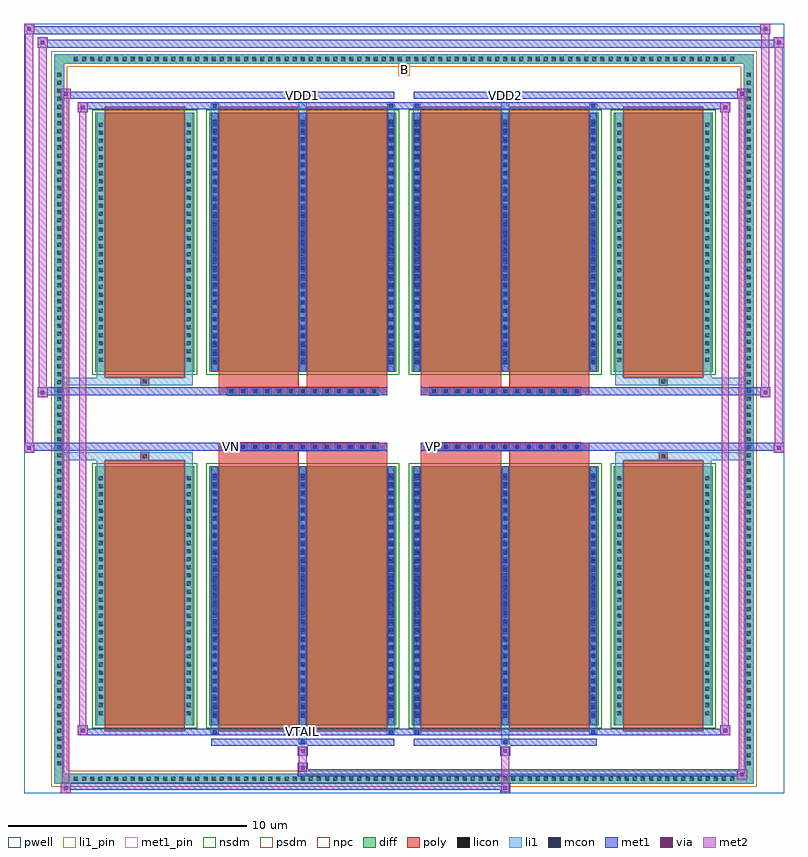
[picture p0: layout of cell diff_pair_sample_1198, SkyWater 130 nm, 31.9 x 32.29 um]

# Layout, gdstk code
import gdstk
lib = gdstk.Library(unit=1e-6, precision=5e-09)
def R(c, l, rs):  # rectangles x0, y0, x1, y1
    for r in rs: c.add(gdstk.rectangle(r[:2], r[2:], *l))
def A(c, l, x, y, w, h, nx, ny, dx, dy):  # array of equal rectangles
    R(c, l, [(x+i*dx, y+j*dy, x+i*dx+w, y+j*dy+h) for i in range(nx) for j in range(ny)])
def P(c, l, *ps):  # polygons
    for p in ps: c.add(gdstk.Polygon(p, *l))
pwell = (64, 44)
diff = (65, 20)
poly = (66, 20)
licon = (66, 44)
li1_pin = (67, 16)
li1 = (67, 20)
mcon = (67, 44)
met1_pin = (68, 16)
met1 = (68, 20)
via = (68, 44)
met2 = (69, 20)
nsdm = (93, 44)
psdm = (94, 20)
npc = (95, 20)

diff_pair_sample_1198 = lib.new_cell('diff_pair_sample_1198')
R(diff_pair_sample_1198, pwell, [(-15.95,-15.71,15.95,16.58), (-13.27,-13.9,-0.01,-0.8), (0.01,-13.9,13.27,-0.8), (-13.27,0.8,-0.01,13.9), (0.01,0.8,13.27,13.9)])
A(diff_pair_sample_1198, diff, -13.975, -15.31, 0.41, 0.41, 82, 2, 0.34, 30.21)
A(diff_pair_sample_1198, diff, -14.68, -14.655, 0.41, 0.41, 1, 86, 0, 0.34)
A(diff_pair_sample_1198, diff, 14.27, -14.655, 0.41, 0.41, 1, 86, 0, 0.34)
R(diff_pair_sample_1198, diff, [(-13.975,-15.31,13.975,-14.9), (-14.68,-14.655,-14.27,14.655), (14.27,-14.655,14.68,14.655), (-12.96,-12.855,-8.81,-1.985), (-8.17,-12.855,-0.32,-1.985), (0.32,-12.855,8.17,-1.985), (8.81,-12.855,12.96,-1.985), (-12.96,1.985,-8.81,12.855), (-8.17,1.985,-0.32,12.855), (0.32,1.985,8.17,12.855), (8.81,1.985,12.96,12.855), (-13.975,14.9,13.975,15.31)])
P(diff_pair_sample_1198, diff, [(14.68,15.31),(-14.68,15.31),(-14.68,-14.9),(-14.27,-14.9),(-14.27,14.9),(14.27,14.9),(14.27,-14.9),(-14.27,-14.9),(-14.68,-14.9),(-14.68,-15.31),(14.68,-15.31)])
A(diff_pair_sample_1198, poly, -7.41, -1.33, 0.33, 0.33, 13, 2, 0.5, 2.33)
A(diff_pair_sample_1198, poly, 1.08, -1.33, 0.33, 0.33, 13, 2, 0.5, 2.33)
R(diff_pair_sample_1198, poly, [(-12.57,-13.105,-9.2,-1.735), (-7.78,-13.105,-4.41,-1.735), (-4.08,-13.105,-0.71,-1.735), (0.71,-13.105,4.08,-1.735), (4.41,-13.105,7.78,-1.735), (9.2,-13.105,12.57,-1.735), (-11.05,-1.735,-10.72,-1.405), (-11.05,-1.735,-10.72,-1.405), (-7.78,-1.735,-4.41,-1.33), (-4.08,-1.735,-0.71,-1.33), (0.71,-1.735,4.08,-1.33), (4.41,-1.735,7.78,-1.33), (10.72,-1.735,11.05,-1.405), (10.72,-1.735,11.05,-1.405), (-7.78,-1.33,-0.71,-1), (0.71,-1.33,7.78,-1), (-7.78,1,-0.71,1.33), (0.71,1,7.78,1.33), (-7.78,1.33,-4.41,1.735), (-4.08,1.33,-0.71,1.735), (0.71,1.33,4.08,1.735), (4.41,1.33,7.78,1.735), (-11.05,1.405,-10.72,1.735), (-11.05,1.405,-10.72,1.735), (10.72,1.405,11.05,1.735), (10.72,1.405,11.05,1.735), (-12.57,1.735,-9.2,13.105), (-7.78,1.735,-4.41,13.105), (-4.08,1.735,-0.71,13.105), (0.71,1.735,4.08,13.105), (4.41,1.735,7.78,13.105), (9.2,1.735,12.57,13.105)])
A(diff_pair_sample_1198, licon, -13.855, -15.19, 0.17, 0.17, 82, 2, 0.34, 30.21)
A(diff_pair_sample_1198, licon, -14.56, -14.535, 0.17, 0.17, 1, 86, 0, 0.34)
A(diff_pair_sample_1198, licon, 14.39, -14.535, 0.17, 0.17, 1, 86, 0, 0.34)
A(diff_pair_sample_1198, licon, -12.82, -12.435, 0.17, 0.17, 1, 30, 0, 0.34)
A(diff_pair_sample_1198, licon, -9.12, -12.435, 0.17, 0.17, 1, 30, 0, 0.34)
A(diff_pair_sample_1198, licon, -8.03, -12.435, 0.17, 0.17, 3, 30, 3.7, 0.34)
A(diff_pair_sample_1198, licon, 0.46, -12.435, 0.17, 0.17, 3, 30, 3.7, 0.34)
A(diff_pair_sample_1198, licon, 8.95, -12.435, 0.17, 0.17, 1, 30, 0, 0.34)
A(diff_pair_sample_1198, licon, 12.65, -12.435, 0.17, 0.17, 1, 30, 0, 0.34)
A(diff_pair_sample_1198, licon, -7.33, -1.25, 0.17, 0.17, 13, 2, 0.5, 2.33)
A(diff_pair_sample_1198, licon, 1.16, -1.25, 0.17, 0.17, 13, 2, 0.5, 2.33)
A(diff_pair_sample_1198, licon, -12.82, 2.405, 0.17, 0.17, 1, 30, 0, 0.34)
A(diff_pair_sample_1198, licon, -9.12, 2.405, 0.17, 0.17, 1, 30, 0, 0.34)
A(diff_pair_sample_1198, licon, -8.03, 2.405, 0.17, 0.17, 3, 30, 3.7, 0.34)
A(diff_pair_sample_1198, licon, 0.46, 2.405, 0.17, 0.17, 3, 30, 3.7, 0.34)
A(diff_pair_sample_1198, licon, 8.95, 2.405, 0.17, 0.17, 1, 30, 0, 0.34)
A(diff_pair_sample_1198, licon, 12.65, 2.405, 0.17, 0.17, 1, 30, 0, 0.34)
R(diff_pair_sample_1198, licon, [(-10.97,-1.655,-10.8,-1.485), (10.8,-1.655,10.97,-1.485), (-10.97,1.485,-10.8,1.655), (10.8,1.485,10.97,1.655)])
R(diff_pair_sample_1198, li1_pin, [(-0.25,14.4,0.25,14.9)])
A(diff_pair_sample_1198, li1, -13.935, -15.27, 0.33, 0.33, 82, 2, 0.34, 30.21)
A(diff_pair_sample_1198, li1, -14.64, -14.615, 0.33, 0.33, 1, 86, 0, 0.34)
A(diff_pair_sample_1198, li1, 14.31, -14.615, 0.33, 0.33, 1, 86, 0, 0.34)
A(diff_pair_sample_1198, li1, -8.11, -12.855, 0.33, 10.87, 3, 2, 3.7, 14.84)
A(diff_pair_sample_1198, li1, 0.38, -12.855, 0.33, 10.87, 3, 2, 3.7, 14.84)
A(diff_pair_sample_1198, li1, -8.03, -12.545, 0.17, 0.17, 3, 29, 3.7, 0.36)
A(diff_pair_sample_1198, li1, -8.03, -12.545, 0.17, 10.25, 3, 2, 3.7, 14.84)
A(diff_pair_sample_1198, li1, 0.46, -12.545, 0.17, 0.17, 3, 29, 3.7, 0.36)
A(diff_pair_sample_1198, li1, 0.46, -12.545, 0.17, 10.25, 3, 2, 3.7, 14.84)
A(diff_pair_sample_1198, li1, -12.9, -12.515, 0.33, 0.33, 1, 30, 0, 0.34)
A(diff_pair_sample_1198, li1, -9.2, -12.515, 0.33, 0.33, 1, 30, 0, 0.34)
A(diff_pair_sample_1198, li1, -8.11, -12.515, 0.33, 0.33, 3, 30, 3.7, 0.34)
A(diff_pair_sample_1198, li1, 0.38, -12.515, 0.33, 0.33, 3, 30, 3.7, 0.34)
A(diff_pair_sample_1198, li1, 8.87, -12.515, 0.33, 0.33, 1, 30, 0, 0.34)
A(diff_pair_sample_1198, li1, 12.57, -12.515, 0.33, 0.33, 1, 30, 0, 0.34)
A(diff_pair_sample_1198, li1, -7.41, -1.33, 0.33, 0.33, 13, 2, 0.5, 2.33)
A(diff_pair_sample_1198, li1, 1.08, -1.33, 0.33, 0.33, 13, 2, 0.5, 2.33)
A(diff_pair_sample_1198, li1, -8.03, 2.295, 0.17, 0.17, 3, 29, 3.7, 0.36)
A(diff_pair_sample_1198, li1, 0.46, 2.295, 0.17, 0.17, 3, 29, 3.7, 0.36)
A(diff_pair_sample_1198, li1, -12.9, 2.325, 0.33, 0.33, 1, 30, 0, 0.34)
A(diff_pair_sample_1198, li1, -9.2, 2.325, 0.33, 0.33, 1, 30, 0, 0.34)
A(diff_pair_sample_1198, li1, -8.11, 2.325, 0.33, 0.33, 3, 30, 3.7, 0.34)
A(diff_pair_sample_1198, li1, 0.38, 2.325, 0.33, 0.33, 3, 30, 3.7, 0.34)
A(diff_pair_sample_1198, li1, 8.87, 2.325, 0.33, 0.33, 1, 30, 0, 0.34)
A(diff_pair_sample_1198, li1, 12.57, 2.325, 0.33, 0.33, 1, 30, 0, 0.34)
R(diff_pair_sample_1198, li1, [(-14.68,-15.31,-14.27,-14.9), (-14.68,-15.31,-14.27,-14.9), (-14.27,-15.31,14.27,-14.9), (14.27,-15.31,14.68,-14.9), (14.27,-15.31,14.68,-14.9), (-14.68,-14.9,-14.27,14.9), (14.27,-14.9,14.68,14.9), (-4.41,-13.66,-4.08,-12.855), (-4.33,-13.66,-4.16,-13.49), (4.08,-13.66,4.41,-12.855), (4.16,-13.66,4.33,-13.49), (-8.11,-13.23,-7.78,-12.855), (-8.03,-13.23,-7.86,-13.06), (-0.71,-13.23,-0.38,-12.855), (-0.63,-13.23,-0.46,-13.06), (0.38,-13.23,0.71,-12.855), (0.46,-13.23,0.63,-13.06), (7.78,-13.23,8.11,-12.855), (7.86,-13.23,8.03,-13.06), (-12.9,-12.855,-12.57,-1.985), (-9.2,-12.855,-8.87,-1.985), (8.87,-12.855,9.2,-1.985), (12.57,-12.855,12.9,-1.985), (-12.9,-1.985,-12.57,-1.405), (-9.2,-1.985,-8.87,-1.405), (8.87,-1.985,9.2,-1.405), (12.57,-1.985,12.9,-1.405), (-14.68,-1.735,-11.05,-1.405), (-12.9,-1.735,-11.05,-1.405), (-11.05,-1.735,-10.72,-1.405), (-10.72,-1.735,-8.87,-1.405), (8.87,-1.735,10.72,-1.405), (10.72,-1.735,11.05,-1.405), (10.72,-1.735,14.68,-1.405), (11.05,-1.735,12.9,-1.405), (-14.68,1.405,-11.05,1.735), (-12.9,1.405,-11.05,1.735), (-12.9,1.405,-12.57,1.985), (-11.05,1.405,-10.72,1.735), (-10.72,1.405,-8.87,1.735), (-9.2,1.405,-8.87,1.985), (8.87,1.405,10.72,1.735), (8.87,1.405,9.2,1.985), (10.72,1.405,11.05,1.735), (10.72,1.405,14.68,1.735), (11.05,1.405,12.9,1.735), (12.57,1.405,12.9,1.985), (-12.9,1.985,-12.57,12.855), (-9.2,1.985,-8.87,12.855), (8.87,1.985,9.2,12.855), (12.57,1.985,12.9,12.855), (-8.11,12.855,-7.78,13.23), (-4.41,12.855,-4.08,13.66), (-0.71,12.855,-0.38,13.23), (0.38,12.855,0.71,13.23), (4.08,12.855,4.41,13.66), (7.78,12.855,8.11,13.23), (-8.03,13.06,-7.86,13.23), (-0.63,13.06,-0.46,13.23), (0.46,13.06,0.63,13.23), (7.86,13.06,8.03,13.23), (-4.33,13.49,-4.16,13.66), (4.16,13.49,4.33,13.66), (-14.68,14.9,-14.27,15.31), (-14.68,14.9,-14.27,15.31), (-14.27,14.9,14.27,15.31), (14.27,14.9,14.68,15.31), (14.27,14.9,14.68,15.31)])
A(diff_pair_sample_1198, mcon, -8.03, -12.545, 0.17, 0.17, 3, 29, 3.7, 0.36)
A(diff_pair_sample_1198, mcon, 0.46, -12.545, 0.17, 0.17, 3, 29, 3.7, 0.36)
A(diff_pair_sample_1198, mcon, -7.33, -1.25, 0.17, 0.17, 13, 2, 0.5, 2.33)
A(diff_pair_sample_1198, mcon, 1.16, -1.25, 0.17, 0.17, 13, 2, 0.5, 2.33)
A(diff_pair_sample_1198, mcon, -8.03, 2.295, 0.17, 0.17, 3, 29, 3.7, 0.36)
A(diff_pair_sample_1198, mcon, 0.46, 2.295, 0.17, 0.17, 3, 29, 3.7, 0.36)
R(diff_pair_sample_1198, mcon, [(-4.33,-13.66,-4.16,-13.49), (4.16,-13.66,4.33,-13.49), (-8.03,-13.23,-7.86,-13.06), (-0.63,-13.23,-0.46,-13.06), (0.46,-13.23,0.63,-13.06), (7.86,-13.23,8.03,-13.06), (-8.03,13.06,-7.86,13.23), (-0.63,13.06,-0.46,13.23), (0.46,13.06,0.63,13.23), (7.86,13.06,8.03,13.23), (-4.33,13.49,-4.16,13.66), (4.16,13.49,4.33,13.66)])
R(diff_pair_sample_1198, met1_pin, [(-4.38,-13.27,-4.11,-13), (-7.38,-1.29,-7.11,-1.02), (1.11,-1.29,1.38,-1.02), (-4.38,13.45,-4.11,13.72), (4.11,13.45,4.38,13.72)])
A(diff_pair_sample_1198, met1, -8.09, -12.855, 0.29, 10.87, 3, 2, 3.7, 14.84)
A(diff_pair_sample_1198, met1, 0.4, -12.855, 0.29, 10.87, 3, 2, 3.7, 14.84)
A(diff_pair_sample_1198, met1, -8.09, -12.605, 0.29, 0.29, 3, 29, 3.7, 0.36)
A(diff_pair_sample_1198, met1, 0.4, -12.605, 0.29, 0.29, 3, 29, 3.7, 0.36)
A(diff_pair_sample_1198, met1, -7.39, -1.31, 0.29, 0.29, 13, 2, 0.5, 2.33)
A(diff_pair_sample_1198, met1, 1.1, -1.31, 0.29, 0.29, 13, 2, 0.5, 2.33)
A(diff_pair_sample_1198, met1, -8.09, 2.235, 0.29, 0.29, 3, 29, 3.7, 0.36)
A(diff_pair_sample_1198, met1, 0.4, 2.235, 0.29, 0.29, 3, 29, 3.7, 0.36)
R(diff_pair_sample_1198, met1, [(-14.41,-15.71,-13.98,-15.28), (4.03,-15.71,4.46,-15.28), (-14.41,-15.57,4.46,-15.28), (13.98,-15.14,14.41,-14.71), (-4.46,-15,14.41,-14.71), (-4.46,-14.86,-4.03,-14.43), (-4.46,-14.15,-4.03,-13.72), (4.03,-14.15,4.46,-13.72), (-8.09,-13.72,-0.4,-13.43), (-4.39,-13.72,-4.1,-13.43), (0.4,-13.72,8.09,-13.43), (4.1,-13.72,4.39,-13.43), (-13.7,-13.29,-13.27,-12.86), (-13.7,-13.29,-8.09,-13), (-8.09,-13.29,-7.8,-13), (-8.09,-13.29,-0.4,-13), (-0.69,-13.29,-0.4,-13), (-0.4,-13.29,0.4,-13), (0.4,-13.29,0.69,-13), (0.4,-13.29,8.09,-13), (7.8,-13.29,8.09,-13), (8.09,-13.29,13.7,-13), (13.27,-13.29,13.7,-12.86), (-15.95,-1.43,-15.52,-1), (15.52,-1.43,15.95,-1), (-15.95,-1.33,-0.71,-1), (-7.78,-1.33,-0.71,-1), (0.71,-1.33,7.78,-1), (0.71,-1.33,15.95,-1), (-15.38,0.9,-14.95,1.33), (14.95,0.9,15.38,1.33), (-15.38,1,-7.78,1.33), (-7.78,1,-0.71,1.33), (0.71,1,7.78,1.33), (7.78,1,15.38,1.33), (-13.7,12.86,-13.27,13.29), (13.27,12.86,13.7,13.29), (-13.7,13,-8.09,13.29), (-8.09,13,-7.8,13.29), (-8.09,13,-0.4,13.29), (-0.69,13,-0.4,13.29), (-0.4,13,0.4,13.29), (0.4,13,0.69,13.29), (0.4,13,8.09,13.29), (7.8,13,8.09,13.29), (8.09,13,13.7,13.29), (-14.41,13.43,-13.98,13.86), (-14.41,13.43,-8.09,13.72), (-8.09,13.43,-0.4,13.72), (-4.39,13.43,-4.1,13.72), (0.4,13.43,8.09,13.72), (4.1,13.43,4.39,13.72), (8.09,13.43,14.41,13.72), (13.98,13.43,14.41,13.86), (-15.38,15.58,-14.95,16.01), (-15.38,15.58,-13.27,15.91), (-13.27,15.58,13.27,15.91), (13.27,15.58,15.95,15.91), (15.52,15.58,15.95,16.01), (-15.95,16.15,-15.52,16.58), (-15.95,16.15,-13.27,16.48), (-13.27,16.15,13.27,16.48), (13.27,16.15,15.38,16.48), (14.95,16.15,15.38,16.58)])
R(diff_pair_sample_1198, via, [(-14.27,-15.57,-14.12,-15.42), (4.17,-15.57,4.32,-15.42), (14.12,-15,14.27,-14.85), (-4.32,-14.72,-4.17,-14.57), (-4.32,-14.01,-4.17,-13.86), (4.17,-14.01,4.32,-13.86), (-13.56,-13.15,-13.41,-13), (13.41,-13.15,13.56,-13), (-15.81,-1.29,-15.66,-1.14), (15.66,-1.29,15.81,-1.14), (-15.24,1.04,-15.09,1.19), (15.09,1.04,15.24,1.19), (-13.56,13,-13.41,13.15), (13.41,13,13.56,13.15), (-14.27,13.57,-14.12,13.72), (14.12,13.57,14.27,13.72), (-15.24,15.72,-15.09,15.87), (15.66,15.72,15.81,15.87), (-15.81,16.29,-15.66,16.44), (15.09,16.29,15.24,16.44)])
R(diff_pair_sample_1198, met2, [(-14.41,-15.71,-13.98,-15.28), (-14.34,-15.71,-14.05,13.86), (-14.05,-15.71,-13.98,-15.28), (-14.36,-15.66,-14.03,-15.33), (4.08,-15.66,4.41,-15.33), (4.08,-15.33,4.41,-14.1), (13.98,-15.14,14.41,-14.71), (14.05,-15.14,14.34,13.86), (14.34,-15.14,14.41,-14.71), (14.03,-15.09,14.36,-14.76), (-4.41,-14.81,-4.08,-14.48), (-4.41,-14.48,-4.08,-14.1), (-4.41,-14.1,-4.08,-13.77), (4.08,-14.1,4.41,-13.77), (-13.7,-13.29,-13.27,-12.86), (-13.63,-13.29,-13.34,13.29), (-13.34,-13.29,-13.27,-12.86), (13.27,-13.29,13.7,-12.86), (13.34,-13.29,13.63,13.29), (13.63,-13.29,13.7,-12.86), (-13.65,-13.24,-13.32,-12.91), (13.32,-13.24,13.65,-12.91), (-15.95,-1.43,-15.52,-1), (-15.9,-1.43,-15.57,16.58), (-15.57,-1.43,-15.52,-1), (15.52,-1.43,15.95,-1), (15.57,-1.43,15.9,16.01), (15.9,-1.43,15.95,-1), (-15.9,-1.38,-15.57,-1.05), (15.57,-1.38,15.9,-1.05), (-15.38,0.9,-14.95,1.33), (-15.33,0.9,-15,16.01), (-15,0.9,-14.95,1.33), (14.95,0.9,15.38,1.33), (15,0.9,15.33,16.58), (15.33,0.9,15.38,1.33), (-15.33,0.95,-15,1.28), (15,0.95,15.33,1.28), (-13.7,12.86,-13.27,13.29), (-13.34,12.86,-13.27,13.29), (13.27,12.86,13.7,13.29), (13.63,12.86,13.7,13.29), (-13.65,12.91,-13.32,13.24), (13.32,12.91,13.65,13.24), (-14.41,13.43,-13.98,13.86), (-14.05,13.43,-13.98,13.86), (13.98,13.43,14.41,13.86), (14.34,13.43,14.41,13.86), (-14.36,13.48,-14.03,13.81), (14.03,13.48,14.36,13.81), (-15.38,15.58,-14.95,16.01), (-15,15.58,-14.95,16.01), (15.52,15.58,15.95,16.01), (15.9,15.58,15.95,16.01), (-15.33,15.63,-15,15.96), (15.57,15.63,15.9,15.96), (-15.95,16.15,-15.52,16.58), (-15.57,16.15,-15.52,16.58), (14.95,16.15,15.38,16.58), (15.33,16.15,15.38,16.58), (-15.9,16.2,-15.57,16.53), (15,16.2,15.33,16.53)])
R(diff_pair_sample_1198, nsdm, [(-13.09,-12.985,-8.68,-1.855), (-8.3,-12.985,-0.19,-1.855), (0.19,-12.985,8.3,-1.855), (8.68,-12.985,13.09,-1.855), (-13.09,1.855,-8.68,12.985), (-8.3,1.855,-0.19,12.985), (0.19,1.855,8.3,12.985), (8.68,1.855,13.09,12.985)])
P(diff_pair_sample_1198, psdm, [(14.81,15.44),(-14.81,15.44),(-14.81,-14.77),(-14.14,-14.77),(-14.14,14.77),(14.14,14.77),(14.14,-14.77),(-14.14,-14.77),(-14.81,-14.77),(-14.81,-15.44),(14.81,-15.44)])
A(diff_pair_sample_1198, npc, -7.43, -1.35, 0.37, 0.37, 13, 2, 0.5, 2.33)
A(diff_pair_sample_1198, npc, 1.06, -1.35, 0.37, 0.37, 13, 2, 0.5, 2.33)
R(diff_pair_sample_1198, npc, [(-11.07,-1.755,-10.7,-1.385), (10.7,-1.755,11.07,-1.385), (-7.43,-1.35,-6.56,-0.98), (-7.43,-1.35,-6.56,-0.98), (-6.93,-1.35,-6.06,-0.98), (-6.93,-1.35,-6.06,-0.98), (-6.43,-1.35,-5.56,-0.98), (-6.43,-1.35,-5.56,-0.98), (-5.93,-1.35,-5.06,-0.98), (-5.93,-1.35,-5.06,-0.98), (-5.43,-1.35,-4.56,-0.98), (-5.43,-1.35,-4.56,-0.98), (-4.93,-1.35,-4.06,-0.98), (-4.93,-1.35,-4.06,-0.98), (-4.43,-1.35,-3.56,-0.98), (-4.43,-1.35,-3.56,-0.98), (-3.93,-1.35,-3.06,-0.98), (-3.93,-1.35,-3.06,-0.98), (-3.43,-1.35,-2.56,-0.98), (-3.43,-1.35,-2.56,-0.98), (-2.93,-1.35,-2.06,-0.98), (-2.93,-1.35,-2.06,-0.98), (-2.43,-1.35,-1.56,-0.98), (-2.43,-1.35,-1.56,-0.98), (-1.93,-1.35,-1.06,-0.98), (-1.93,-1.35,-1.06,-0.98), (1.06,-1.35,1.93,-0.98), (1.06,-1.35,1.93,-0.98), (1.56,-1.35,2.43,-0.98), (1.56,-1.35,2.43,-0.98), (2.06,-1.35,2.93,-0.98), (2.06,-1.35,2.93,-0.98), (2.56,-1.35,3.43,-0.98), (2.56,-1.35,3.43,-0.98), (3.06,-1.35,3.93,-0.98), (3.06,-1.35,3.93,-0.98), (3.56,-1.35,4.43,-0.98), (3.56,-1.35,4.43,-0.98), (4.06,-1.35,4.93,-0.98), (4.06,-1.35,4.93,-0.98), (4.56,-1.35,5.43,-0.98), (4.56,-1.35,5.43,-0.98), (5.06,-1.35,5.93,-0.98), (5.06,-1.35,5.93,-0.98), (5.56,-1.35,6.43,-0.98), (5.56,-1.35,6.43,-0.98), (6.06,-1.35,6.93,-0.98), (6.06,-1.35,6.93,-0.98), (6.56,-1.35,7.43,-0.98), (6.56,-1.35,7.43,-0.98), (-7.43,0.98,-6.56,1.35), (-7.43,0.98,-6.56,1.35), (-6.93,0.98,-6.06,1.35), (-6.93,0.98,-6.06,1.35), (-6.43,0.98,-5.56,1.35), (-6.43,0.98,-5.56,1.35), (-5.93,0.98,-5.06,1.35), (-5.93,0.98,-5.06,1.35), (-5.43,0.98,-4.56,1.35), (-5.43,0.98,-4.56,1.35), (-4.93,0.98,-4.06,1.35), (-4.93,0.98,-4.06,1.35), (-4.43,0.98,-3.56,1.35), (-4.43,0.98,-3.56,1.35), (-3.93,0.98,-3.06,1.35), (-3.93,0.98,-3.06,1.35), (-3.43,0.98,-2.56,1.35), (-3.43,0.98,-2.56,1.35), (-2.93,0.98,-2.06,1.35), (-2.93,0.98,-2.06,1.35), (-2.43,0.98,-1.56,1.35), (-2.43,0.98,-1.56,1.35), (-1.93,0.98,-1.06,1.35), (-1.93,0.98,-1.06,1.35), (1.06,0.98,1.93,1.35), (1.06,0.98,1.93,1.35), (1.56,0.98,2.43,1.35), (1.56,0.98,2.43,1.35), (2.06,0.98,2.93,1.35), (2.06,0.98,2.93,1.35), (2.56,0.98,3.43,1.35), (2.56,0.98,3.43,1.35), (3.06,0.98,3.93,1.35), (3.06,0.98,3.93,1.35), (3.56,0.98,4.43,1.35), (3.56,0.98,4.43,1.35), (4.06,0.98,4.93,1.35), (4.06,0.98,4.93,1.35), (4.56,0.98,5.43,1.35), (4.56,0.98,5.43,1.35), (5.06,0.98,5.93,1.35), (5.06,0.98,5.93,1.35), (5.56,0.98,6.43,1.35), (5.56,0.98,6.43,1.35), (6.06,0.98,6.93,1.35), (6.06,0.98,6.93,1.35), (6.56,0.98,7.43,1.35), (6.56,0.98,7.43,1.35), (-11.07,1.385,-10.7,1.755), (10.7,1.385,11.07,1.755)])
diff_pair_sample_1198.add(gdstk.Label('VTAIL', (-4.245,-13.135), layer=68, texttype=5))
diff_pair_sample_1198.add(gdstk.Label('VN', (-7.245,-1.155), layer=68, texttype=5))
diff_pair_sample_1198.add(gdstk.Label('VP', (1.245,-1.155), layer=68, texttype=5))
diff_pair_sample_1198.add(gdstk.Label('B', (0,14.65), layer=67, texttype=5))
diff_pair_sample_1198.add(gdstk.Label('VDD2', (4.245,13.585), layer=68, texttype=5))
diff_pair_sample_1198.add(gdstk.Label('VDD1', (-4.245,13.585), layer=68, texttype=5))

lib.write_gds('diff_pair_sample_1198.gds')
